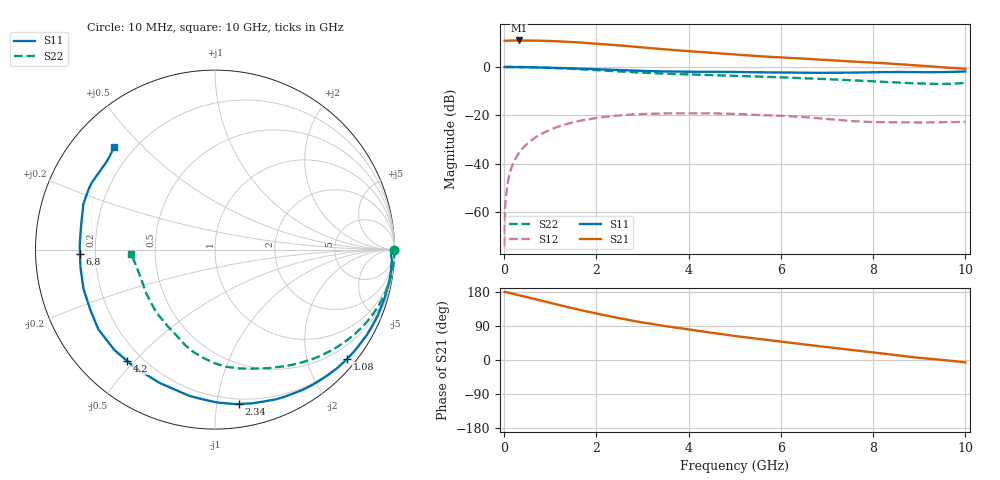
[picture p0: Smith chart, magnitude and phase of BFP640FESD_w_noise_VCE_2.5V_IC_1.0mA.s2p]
! Infineon Technologies  Discrete & RF Semiconductors
! BFP640FESD
! VCE =  2.5 V,  IC =  1.0 mA
! Common Emitter S-Parameters:  Jan 2016
# GHz  S  MA  R  50
!  f  S11  S21  S12  S22
! GHz  MAG  ANG  MAG  ANG  MAG  ANG  MAG  ANG
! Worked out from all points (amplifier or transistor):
!   233 points, 10 MHz to 10 GHz, reference 50 ohm
!   highest |S21| = 10.9 dB at 320 MHz (marker M1)
!   |S21| within 3 dB of that: start of sweep to 3.078 GHz
!   unconditionally stable (mu >= 1): 6.855 GHz to end of sweep
!   at 200 MHz: K = -0.01, MSG = 25.3 dB, |S12| = -39.7 dB
!   at 1.74 GHz: K = 0.09, MSG = 15.9 dB, |S12| = -21.9 dB
!   at 10 GHz: K = 1.86, MAG = 5.6 dB, |S12| = -22.7 dB
!   lowest NFmin = 0.44 dB at 450 MHz
!   S11 on the Smith chart (normalised r, x): 10 MHz: open; 1.08 GHz: 0.20, -2.77; 2.34 GHz: 0.16, -1.16; 4.2 GHz: 0.14, -0.48; 6.8 GHz: 0.14, -0.02; 10 GHz: 0.13, +0.41
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0.01  0.9969 0.0  3.466 179.5  0.0002 62.2  0.9987 0.0
0.015  0.9933 -0.3  3.453 179.6  0.0007 90.4  0.9992 -0.3
0.02  0.9897 -0.7  3.441 179.7  0.0013 94.6  0.9998 -0.5
0.07  0.9837 -2.6  3.454 178.1  0.0036 89.5  0.9995 -1.5
0.105  0.9875 -4.0  3.473 177.3  0.0055 88.1  0.9994 -2.2
0.155  0.987 -5.8  3.487 175.9  0.0081 86.6  0.9987 -3.3
0.32  0.9851 -11.7  3.499 171.0  0.0166 82.9  0.995 -6.8
0.7  0.9738 -25.7  3.477 159.7  0.036 74.0  0.9771 -14.9
1.08  0.9551 -39.5  3.385 148.4  0.0542 64.9  0.9479 -22.9
1.34  0.9388 -48.8  3.295 140.7  0.0655 58.7  0.9238 -28.3
1.68  0.9153 -60.5  3.157 131.1  0.0782 50.8  0.8883 -35.2
1.98  0.8944 -70.1  3.012 123.1  0.0875 44.5  0.8573 -40.9
2.34  0.87 -81.1  2.84 114.1  0.0963 37.2  0.8196 -47.7
2.86  0.8335 -96.3  2.583 102.0  0.1049 27.6  0.769 -56.7
3.4  0.806 -109.9  2.329 91.3  0.1085 19.2  0.7295 -64.5
4.2  0.79 -128.2  2.04 77.2  0.1098 9.8  0.6894 -74.2
5.1  0.7825 -147.4  1.769 61.9  0.1062 0.1  0.6513 -85.5
6  0.7645 -163.5  1.569 48.5  0.0982 -6.4  0.6081 -95.9
6.8  0.7527 -178.0  1.417 36.9  0.0872 -10.2  0.5669 -105.2
8.4  0.7806 154.2  1.16 14.2  0.0719 -2.0  0.482 -130.9
9  0.7765 145.9  1.061 5.6  0.0711 1.7  0.4541 -147.4
10  0.8019 134.4  0.912 -6.4  0.0732 8.6  0.4665 -176.9
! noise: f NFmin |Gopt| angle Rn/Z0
0.45  0.44  0.85  9  0.44
2.4  1.03  0.61  61  0.35
5.5  1.58  0.64  145  0.12
10  3.33  0.68  -128  0.52
